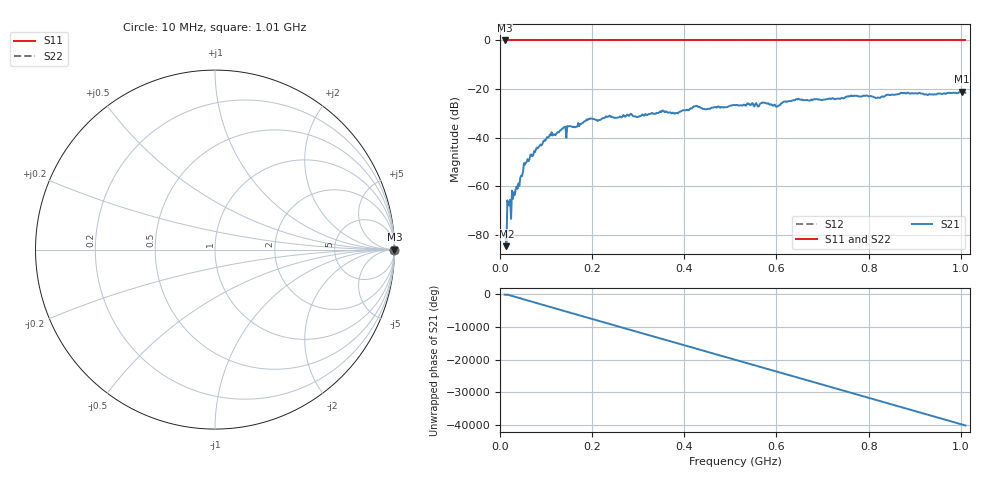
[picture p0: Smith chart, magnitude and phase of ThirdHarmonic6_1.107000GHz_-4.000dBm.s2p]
! 8/16/2025 10:28:55 AM
! C:\ANRITSUVNA\TEMP\TEMP.S2P
! CHANNEL.1
! TR.MEASUREMENT
! RAW.DATA
! RF.CORRECTION.OFF
! AVERAGING.OFF
! IF.BANDWIDTH: 5KHZ
! SWEEPTYPE:  FREQ.SWEEP(Linear)
! Reference Plane Port Info
! PORT:  PORT1  PORT2
! DISTANCE:  0  m  0  m
! TIME:  0  s  0  s
! PHASE.OFFSET:  0  deg.  0  deg.
! LOSS:  0  dB  0  dB
! REF.LOSS:  0  dB  0  dB
! REF.FREQ:  0  Hz  0  Hz
! Power Info
! POWER:  -20  dBm  -20  dBm
! EFF.POWER:  -20  dBm  -20  dBm
! SOURCE.ATTEN:  0  dB  0  dB
! TEST.ATTEN:  0  dB  0  dB
# GHZ S RI R 50.0
! FREQ.GHZ  S11RE  S11IM  S21RE  S21IM  S12RE  S12IM  S22RE  S22IM
!; PortSelection: Port_12
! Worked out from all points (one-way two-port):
!   501 points, 10 MHz to 1.01 GHz, reference 50 ohm
!   highest |S21| = -21.11 dB at 1.002 GHz (marker M1); lowest = -84.6 dB at 14 MHz (marker M2)
!   lowest |S11| = 0.0 dB at 10 MHz (marker M3)
!   |S11| at or under -10 dB: nowhere
!   |S22| runs from 0.0 to 0.0 dB; largest |S21 - S12| = 1.1
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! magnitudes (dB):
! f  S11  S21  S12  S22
! 10 MHz  0.0  -79.9  0.0  0.0
! 14 MHz  0.0  -84.6  0.0  0.0
! 20 MHz  0.0  -67.9  0.0  0.0
! 42 MHz  0.0  -59.8  0.0  0.0
! 56 MHz  0.0  -50.3  0.0  0.0
! 108 MHz  0.0  -38.8  0.0  0.0
! 138 MHz  0.0  -35.8  0.0  0.0
! 178 MHz  0.0  -34.0  0.0  0.0
! 196 MHz  0.0  -32.1  0.0  0.0
! 300 MHz  0.0  -31.5  0.0  0.0
! 344 MHz  0.0  -29.8  0.0  0.0
! 382 MHz  0.0  -29.8  0.0  0.0
! 424 MHz  0.0  -27.1  0.0  0.0
! 446 MHz  0.0  -28.3  0.0  0.0
! 510 MHz  0.0  -26.6  0.0  0.0
! 572 MHz  0.0  -25.6  0.0  0.0
! 602 MHz  0.0  -27.2  0.0  0.0
! 644 MHz  0.0  -24.1  0.0  0.0
! 678 MHz  0.0  -24.5  0.0  0.0
! 844 MHz  0.0  -22.4  0.0  0.0
! 1.002 GHz  0.0  -21.1  0.0  0.0
! 1.01 GHz  0.0  -21.6  0.0  0.0
